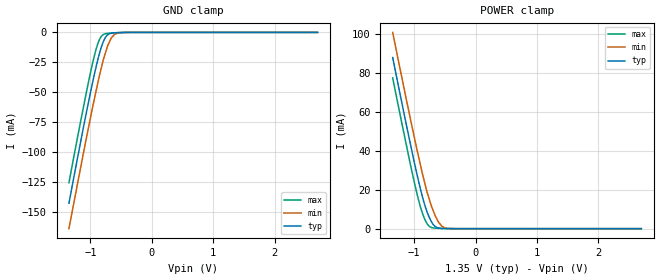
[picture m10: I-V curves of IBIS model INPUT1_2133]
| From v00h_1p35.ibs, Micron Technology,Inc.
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| MODEL INPUT1_2133 (Add/Cmd/Ctrl Input Model, 2133Mbps)
[Model]   INPUT1_2133
Model_type   Input
Vinl = 550.000mV
Vinh = 800.000mV
|   typ   min   max
|C_comp   0.450pF   0.375pF   0.525pF
C_comp_power_clamp   0.2250pF   0.1875pF   0.2625pF
C_comp_gnd_clamp   0.2250pF   0.1875pF   0.2625pF
[Model Spec]
| Input threshold voltage corners
Vinl   0.5500V   0.5165V   0.5875V
Vinh   0.8000V   0.7665V   0.8375V
| Dynamic Overshoot Parameters from DDR3L Specification
|D_overshoot_ampl_h   0.40   NA   NA
|D_overshoot_ampl_l   0.40   NA   NA
|D_overshoot_area_h   0.25n   NA   NA
|D_overshoot_area_l   0.25n   NA   NA
[Receiver Thresholds]
Vth   =  0.675V
Vth_min  =  0.6615V
Vth_max  =  0.6885V
Vinh_ac  =  0.125V
Vinh_dc  =  0.090V
Vinl_ac  = -0.125V
Vinl_dc  = -0.090V
Tslew_ac =  5.000ns |Not specified, so set to high value
Threshold_sensitivity = 0.50
Reference_supply Power_clamp_ref
[Voltage Range]   1.3500V   1.2830V   1.4250V
[POWER Clamp Reference]   1.3500V   1.2830V   1.4250V
| Junction Temperature (Ambient temp is 35C typ, 95C min, 0C max)
[Temperature Range]   50.0   110.0   0.0
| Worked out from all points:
|   GND clamp passes 1 mA (typ) near -0.68 V on its own axis
|   POWER clamp passes 1 mA (typ) near -0.65 V on its own axis
[GND Clamp]
|   Voltage   I(typ)   I(min)   I(max)
-1.35V    -142.4mA   -163.7mA   -125.4mA
-1.21V    -104.6mA   -126.1mA   -87.43mA
-1.065V   -66.73mA   -87.85mA   -49.6mA
-955mV    -39.35mA   -59.98mA   -23.46mA
-900mV    -26.94mA   -46.96mA   -12.69mA
-835mV    -14.35mA   -32.23mA   -4.244mA
-765mV    -4.987mA   -18.63mA   -1.216mA
-720mV    -2.018mA   -11.17mA   -814.1uA
-660mV    -653.4uA   -4.606mA   -540.4uA
-605mV    -331.7uA   -1.59mA    -363.2uA
-375mV    -19.08uA   -20.29uA   -24.45uA
2.7V      0A         0A         0A
[POWER Clamp]
|   Voltage   I(typ)   I(min)   I(max)
-1.35V    87.76mA    100.7mA    77.36mA
-1.205V   65.13mA    78.09mA    54.64mA
-1.01V    35.74mA    48.61mA    25.45mA
-925mV    23.88mA    36.4mA     14.18mA
-875mV    17.5mA     29.48mA    8.776mA
-795mV    9.05mA     19.36mA    2.829mA
-710mV    3.037mA    10.8mA     498.3uA
-660mV    1.098mA    6.809mA    273.1uA
-605mV    336.2uA    3.411mA    172.3uA
-545mV    112.7uA    1.145mA    101.2uA
-370mV    14.23uA    21.47uA    15.97uA
2.7V      0A         0A         0A
